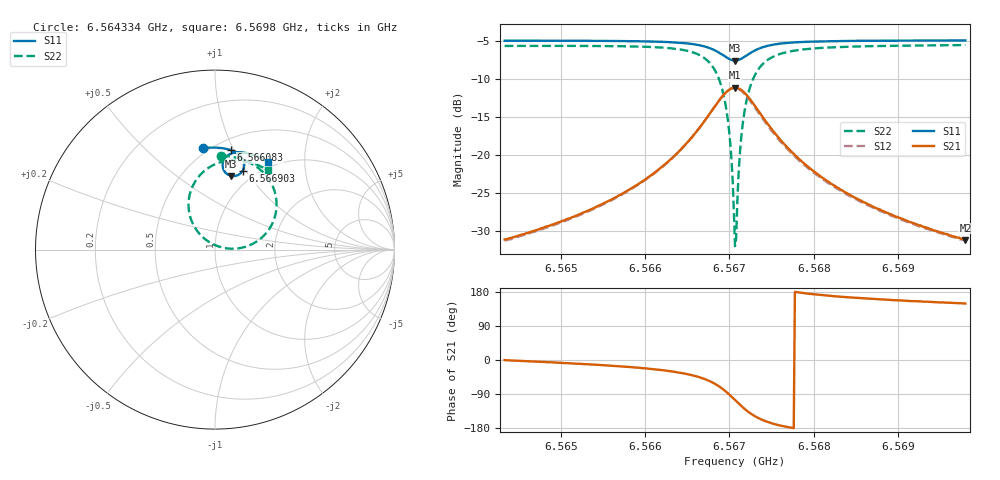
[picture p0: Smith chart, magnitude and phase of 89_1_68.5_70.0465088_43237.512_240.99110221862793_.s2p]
#  HZ  S  RI  R  50.00
! Rohde & Schwarz Vector Network Analyzer
! Rohde-Schwarz,ZNB20-2Port,1311601062101988,3.16
! Created: UTC 3/20/2024, 5:07:43 PM
! freq[Hz]  re:S11  im:S11  re:S21  im:S21  re:S12  im:S12  re:S22  im:S22
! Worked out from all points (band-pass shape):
!   401 points, 6.564334 GHz to 6.5698 GHz, reference 50 ohm
!   highest |S21| = -11.08 dB at 6.567067 GHz (marker M1); lowest = -31.1 dB at 6.5698 GHz (marker M2)
!   |S21| within 3 dB of the highest: 6.566795 GHz to 6.56734 GHz (545.7 kHz wide, 0.00831 % of centre)
!   lowest |S11| = -7.5 dB at 6.567067 GHz (marker M3), VSWR 2.45, Z = 41.3 + j41.2 ohm
!   |S11| at or under -10 dB: nowhere
!   |S22| runs from -32.0 to -5.5 dB; largest |S21 - S12| = 0.013
!   S11 on the Smith chart (normalised r, x): 6.564334 GHz: 0.47, +0.78; 6.566083 GHz: 0.60, +0.97; 6.566903 GHz: 0.86, +0.97; 6.5698 GHz: 0.92, +1.33
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6.5643342e9  -0.0646 0.5654  0.0279 -6.08e-05  0.0274 -0.000756  0.0349 0.5242
6.5652497e9  0.0103 0.5678  0.041 -0.0074  0.0402 -0.00809  0.1214 0.5112
6.5660831e9  0.0877 0.5547  0.0685 -0.03  0.0673 -0.0309  0.2285 0.4635
6.5661651e9  0.0964 0.5516  0.073 -0.0351  0.0718 -0.036  0.2423 0.4532
6.5664657e9  0.1307 0.5323  0.0939 -0.0672  0.0924 -0.0687  0.3013 0.3899
6.5666843e9  0.1561 0.5013  0.1077 -0.1213  0.1053 -0.1236  0.3407 0.2861
6.5668073e9  0.1627 0.4704  0.1006 -0.1756  0.0961 -0.1788  0.3333 0.1822
6.5669029e9  0.154 0.4389  0.0679 -0.2293  0.0604 -0.2323  0.2757 0.0815
6.5669849e9  0.1285 0.4155  0.00781 -0.2672  -0.00298 -0.2672  0.1654 0.0144
6.5670122e9  0.1164 0.4111  -0.0188 -0.2731  -0.0302 -0.2714  0.1174 0.00553
6.5670532e9  0.0965 0.4097  -0.0611 -0.272  -0.0727 -0.2673  0.0418 0.0112
6.5670669e9  0.0897 0.4107  -0.075 -0.2689  -0.0866 -0.2631  0.0174 0.0183
6.5670805e9  0.0833 0.4125  -0.0889 -0.2643  -0.1 -0.2578  -0.00633 0.0278
6.5670942e9  0.077 0.4152  -0.102 -0.2586  -0.1125 -0.2509  -0.0286 0.0399
6.5671215e9  0.0657 0.4221  -0.1259 -0.2434  -0.135 -0.2341  -0.0683 0.0694
6.5671625e9  0.0526 0.4363  -0.1537 -0.2144  -0.1602 -0.2036  -0.1127 0.124
6.5672172e9  0.0437 0.4578  -0.1751 -0.1715  -0.1779 -0.1603  -0.1427 0.2017
6.5672855e9  0.0438 0.4831  -0.1811 -0.1223  -0.1808 -0.1126  -0.1445 0.2882
6.5675451e9  0.0835 0.5321  -0.1365 -0.0249  -0.1336 -0.0209  -0.0429 0.4512
6.5679823e9  0.1442 0.5423  -0.0795 0.00852  -0.0776 0.00981  0.0873 0.4974
6.5688978e9  0.229 0.5211  -0.0383 0.0149  -0.0376 0.0152  0.2174 0.4792
6.5697995e9  0.2954 0.4884  -0.0238 0.0143  -0.0234 0.0144  0.2956 0.4426
